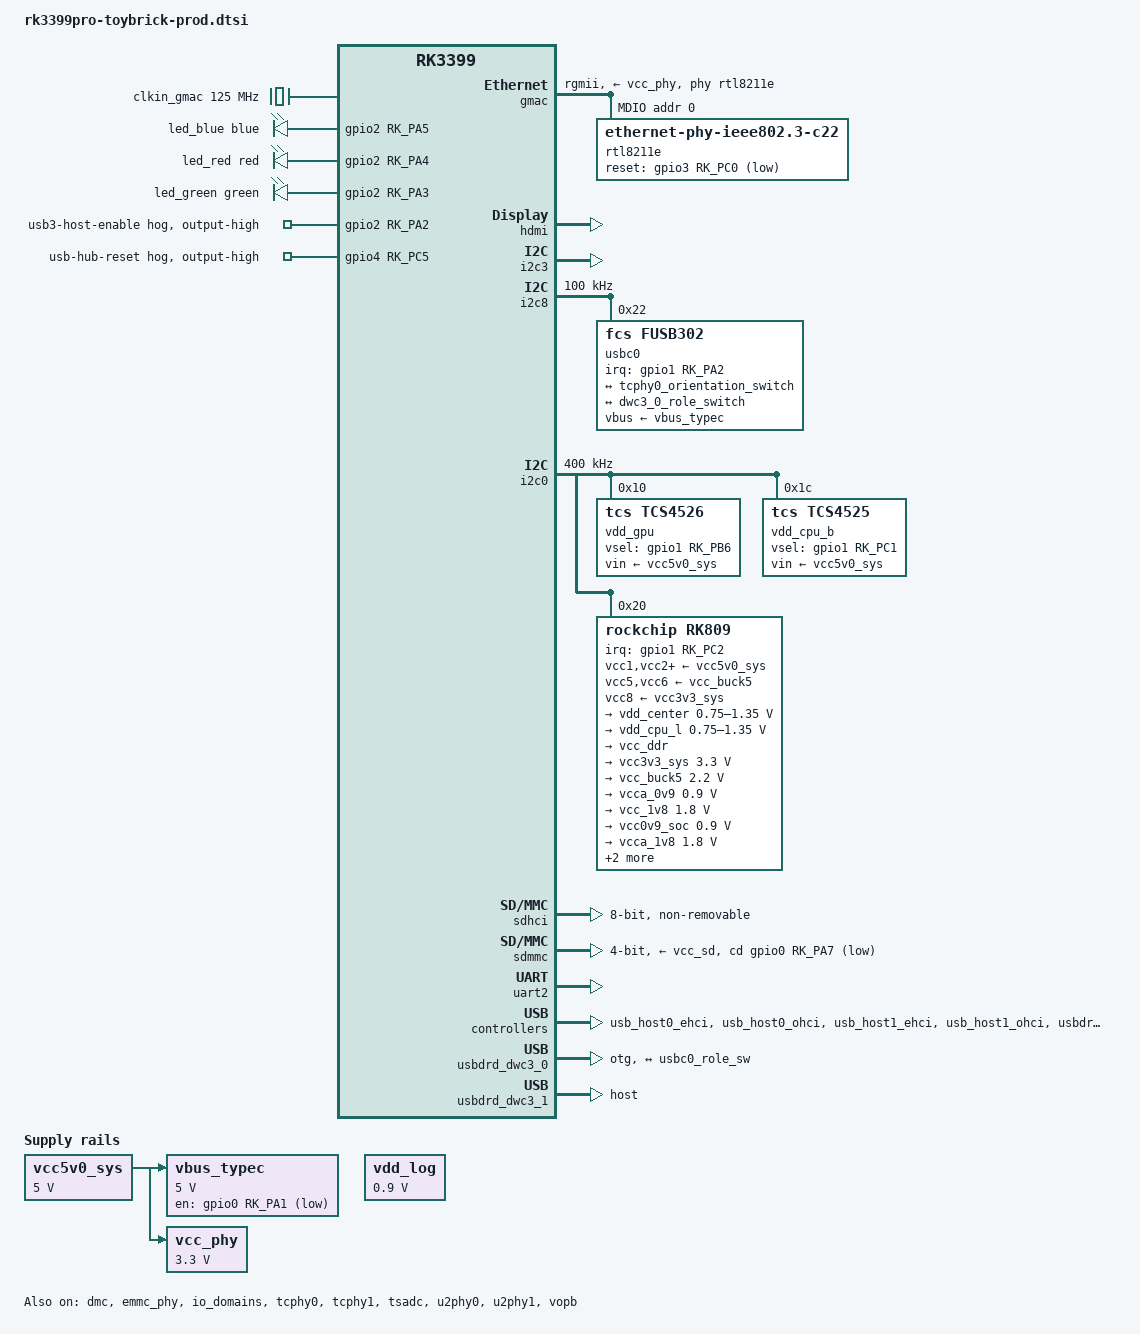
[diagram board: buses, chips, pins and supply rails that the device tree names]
// SPDX-License-Identifier: (GPL-2.0+ OR MIT)
/*
 * Toybrick TB-RK3399ProD board support
 *
 * This description contains the hardware required for the OpenWrt router and
 * HDMI text console. Camera, audio, on-board/vendor wireless, Bluetooth and
 * the external NPU firmware interface are left disabled.
 * External endpoints on the independent x4 connector use PCI enumeration.
 */

#include "rk3399.dtsi"
#include <dt-bindings/leds/common.h>
#include <dt-bindings/usb/pd.h>

/ {
	compatible = "rockchip,rk3399pro-toybrick-prod",
		     "rockchip,rk3399pro";

	aliases {
		ethernet0 = &gmac;
		led-boot = &led_blue;
		led-failsafe = &led_red;
		led-running = &led_green;
		led-upgrade = &led_red;
		mmc0 = &sdmmc;
		mmc1 = &sdhci;
		serial2 = &uart2;
	};

	chosen {
		stdout-path = "serial2:1500000n8";
	};

	clkin_gmac: external-gmac-clock {
		compatible = "fixed-clock";
		#clock-cells = <0>;
		clock-frequency = <125000000>;
		clock-output-names = "clkin_gmac";
	};

	leds {
		compatible = "gpio-leds";

		led_blue: led-0 {
			color = <LED_COLOR_ID_BLUE>;
			function = LED_FUNCTION_STATUS;
			gpios = <&gpio2 RK_PA5 GPIO_ACTIVE_HIGH>;
		};

		led_red: led-1 {
			color = <LED_COLOR_ID_RED>;
			function = LED_FUNCTION_FAULT;
			gpios = <&gpio2 RK_PA4 GPIO_ACTIVE_HIGH>;
		};

		led_green: led-2 {
			color = <LED_COLOR_ID_GREEN>;
			function = LED_FUNCTION_STATUS;
			gpios = <&gpio2 RK_PA3 GPIO_ACTIVE_HIGH>;
		};
	};

	dmc_opp_table: opp-table-dmc {
		compatible = "operating-points-v2";

		/* Probe-only baseline: the accepted boot rate and fixed BSP voltage. */
		opp-800000000 {
			opp-hz = /bits/ 64 <800000000>;
			opp-microvolt = <900000>;
		};
	};

	vcc5v0_sys: regulator-vcc5v0-sys {
		compatible = "regulator-fixed";
		regulator-name = "vcc5v0_sys";
		regulator-always-on;
		regulator-boot-on;
		regulator-min-microvolt = <5000000>;
		regulator-max-microvolt = <5000000>;
	};

	vbus_typec: regulator-vbus-typec {
		compatible = "regulator-fixed";
		gpio = <&gpio0 RK_PA1 GPIO_ACTIVE_LOW>;
		pinctrl-names = "default";
		pinctrl-0 = <&vbus_typec_en>;
		regulator-name = "vbus_typec";
		regulator-min-microvolt = <5000000>;
		regulator-max-microvolt = <5000000>;
		vin-supply = <&vcc5v0_sys>;
	};

	vcc_phy: regulator-vcc-phy {
		compatible = "regulator-fixed";
		regulator-name = "vcc_phy";
		regulator-always-on;
		regulator-boot-on;
		regulator-min-microvolt = <3300000>;
		regulator-max-microvolt = <3300000>;
		vin-supply = <&vcc5v0_sys>;
	};

	vcc_pcie: regulator-vcc-pcie {
		compatible = "regulator-fixed";
		enable-active-high;
		gpio = <&gpio2 RK_PA6 GPIO_ACTIVE_HIGH>;
		pinctrl-names = "default";
		pinctrl-0 = <&vcc_pcie_drv>;
		regulator-name = "vcc_pcie";
		regulator-min-microvolt = <3300000>;
		regulator-max-microvolt = <3300000>;
		vin-supply = <&vcc5v0_sys>;
		status = "disabled";
	};

	/* The BSP models this always-on rail separately from RK809 DCDC1. */
	vdd_log: regulator-vdd-log {
		compatible = "regulator-fixed";
		regulator-name = "vdd_log";
		regulator-always-on;
		regulator-boot-on;
		regulator-min-microvolt = <900000>;
		regulator-max-microvolt = <900000>;
	};
};

&cpu_l0 {
	cpu-supply = <&vdd_cpu_l>;
};

&cpu_l1 {
	cpu-supply = <&vdd_cpu_l>;
};

&cpu_l2 {
	cpu-supply = <&vdd_cpu_l>;
};

&cpu_l3 {
	cpu-supply = <&vdd_cpu_l>;
};

&cpu_b0 {
	cpu-supply = <&vdd_cpu_b>;
};

&cpu_b1 {
	cpu-supply = <&vdd_cpu_b>;
};

&dfi {
	/* ROUND-only validation does not consume the DDR load monitor. */
	status = "disabled";
};

&dmc {
	center-supply = <&vdd_log>;
	operating-points-v2 = <&dmc_opp_table>;
	status = "okay";
};

&emmc_phy {
	status = "okay";
};

&gmac {
	assigned-clocks = <&cru SCLK_RMII_SRC>;
	assigned-clock-parents = <&clkin_gmac>;
	clock_in_out = "input";
	phy-handle = <&rtl8211e>;
	phy-mode = "rgmii";
	phy-supply = <&vcc_phy>;
	pinctrl-names = "default";
	pinctrl-0 = <&rgmii_pins>;
	rx_delay = <0x20>;
	tx_delay = <0x28>;
	status = "okay";

	mdio {
		compatible = "snps,dwmac-mdio";
		#address-cells = <1>;
		#size-cells = <0>;

		rtl8211e: ethernet-phy@0 {
			compatible = "ethernet-phy-ieee802.3-c22";
			reg = <0>;
			pinctrl-names = "default";
			pinctrl-0 = <&phy_reset>;
			reset-assert-us = <10000>;
			reset-deassert-us = <50000>;
			reset-gpios = <&gpio3 RK_PC0 GPIO_ACTIVE_LOW>;
		};
	};
};

&hdmi {
	avdd-0v9-supply = <&vcca_0v9>;
	avdd-1v8-supply = <&vcca_1v8>;
	ddc-i2c-bus = <&i2c3>;
	status = "okay";
};

&i2c3 {
	i2c-scl-rising-time-ns = <450>;
	i2c-scl-falling-time-ns = <15>;
	status = "okay";
};

&i2c8 {
	clock-frequency = <100000>;
	i2c-scl-falling-time-ns = <11>;
	i2c-scl-rising-time-ns = <345>;
	status = "okay";

	usbc0: typec-portc@22 {
		compatible = "fcs,fusb302";
		reg = <0x22>;
		interrupt-parent = <&gpio1>;
		interrupts = <RK_PA2 IRQ_TYPE_LEVEL_LOW>;
		pinctrl-names = "default";
		pinctrl-0 = <&usbc0_int>;
		vbus-supply = <&vbus_typec>;

		usb_con: connector {
			compatible = "usb-c-connector";
			data-role = "host";
			label = "USB-C";
			power-role = "source";
			source-pdos =
				<PDO_FIXED(5000, 1500, PDO_FIXED_USB_COMM)>;

			ports {
				#address-cells = <1>;
				#size-cells = <0>;

				port@0 {
					reg = <0>;

					usbc0_orien_sw: endpoint {
						remote-endpoint = <&tcphy0_orientation_switch>;
					};
				};

				port@1 {
					reg = <1>;

					usbc0_role_sw: endpoint {
						remote-endpoint = <&dwc3_0_role_switch>;
					};
				};
			};
		};
	};
};

&gpio2 {
	/* Fixed USB3 host port power enable from the vendor board file. */
	usb3_host_enable_hog: usb3-host-enable-hog {
		gpio-hog;
		gpios = <RK_PA2 GPIO_ACTIVE_HIGH>;
		output-high;
		line-name = "usb3-host-enable";
	};
};

&gpio4 {
	/* Replaces the BSP-only usbhub-reset platform driver. */
	usb_hub_reset_hog: usb-hub-reset-hog {
		gpio-hog;
		gpios = <RK_PC5 GPIO_ACTIVE_HIGH>;
		output-high;
		line-name = "usb-hub-reset";
	};
};

&gpu {
	mali-supply = <&vdd_gpu>;
	status = "disabled";
};

&i2c0 {
	clock-frequency = <400000>;
	i2c-scl-falling-time-ns = <30>;
	i2c-scl-rising-time-ns = <180>;
	status = "okay";

	vdd_gpu: regulator@10 {
		compatible = "tcs,tcs4526";
		reg = <0x10>;
		fcs,suspend-voltage-selector = <1>;
		pinctrl-names = "default";
		pinctrl-0 = <&vsel2_gpio>;
		regulator-name = "vdd_gpu";
		regulator-always-on;
		regulator-boot-on;
		regulator-min-microvolt = <737500>;
		regulator-max-microvolt = <1387500>;
		regulator-ramp-delay = <2300>;
		vin-supply = <&vcc5v0_sys>;
		vsel-gpios = <&gpio1 RK_PB6 GPIO_ACTIVE_HIGH>;

		regulator-state-mem {
			regulator-off-in-suspend;
		};
	};

	vdd_cpu_b: regulator@1c {
		compatible = "tcs,tcs4525";
		reg = <0x1c>;
		fcs,suspend-voltage-selector = <1>;
		pinctrl-names = "default";
		pinctrl-0 = <&vsel1_gpio>;
		regulator-name = "vdd_cpu_b";
		regulator-always-on;
		regulator-boot-on;
		regulator-min-microvolt = <712500>;
		regulator-max-microvolt = <1387500>;
		regulator-ramp-delay = <2300>;
		vin-supply = <&vcc5v0_sys>;
		vsel-gpios = <&gpio1 RK_PC1 GPIO_ACTIVE_HIGH>;

		regulator-state-mem {
			regulator-off-in-suspend;
		};
	};

	rk809: pmic@20 {
		compatible = "rockchip,rk809";
		reg = <0x20>;
		interrupt-parent = <&gpio1>;
		interrupts = <RK_PC2 IRQ_TYPE_LEVEL_LOW>;
		#clock-cells = <1>;
		clock-output-names = "rk808-clkout1", "rk808-clkout2";
		pinctrl-names = "default";
		pinctrl-0 = <&pmic_int_l>;
		rockchip,system-power-controller;
		wakeup-source;

		vcc1-supply = <&vcc5v0_sys>;
		vcc2-supply = <&vcc5v0_sys>;
		vcc3-supply = <&vcc5v0_sys>;
		vcc4-supply = <&vcc5v0_sys>;
		vcc5-supply = <&vcc_buck5>;
		vcc6-supply = <&vcc_buck5>;
		vcc7-supply = <&vcc5v0_sys>;
		vcc8-supply = <&vcc3v3_sys>;
		vcc9-supply = <&vcc5v0_sys>;

		regulators {
			vdd_center: DCDC_REG1 {
				regulator-name = "vdd_center";
				regulator-always-on;
				regulator-boot-on;
				regulator-min-microvolt = <750000>;
				regulator-max-microvolt = <1350000>;
				regulator-initial-mode = <0x2>;

				regulator-state-mem {
					regulator-on-in-suspend;
					regulator-suspend-microvolt = <900000>;
				};
			};

			vdd_cpu_l: DCDC_REG2 {
				regulator-name = "vdd_cpu_l";
				regulator-always-on;
				regulator-boot-on;
				regulator-min-microvolt = <750000>;
				regulator-max-microvolt = <1350000>;
				regulator-initial-mode = <0x2>;
				regulator-ramp-delay = <6001>;

				regulator-state-mem {
					regulator-off-in-suspend;
				};
			};

			vcc_ddr: DCDC_REG3 {
				regulator-name = "vcc_ddr";
				regulator-always-on;
				regulator-boot-on;
				regulator-initial-mode = <0x2>;

				regulator-state-mem {
					regulator-on-in-suspend;
				};
			};

			vcc3v3_sys: DCDC_REG4 {
				regulator-name = "vcc3v3_sys";
				regulator-always-on;
				regulator-boot-on;
				regulator-min-microvolt = <3300000>;
				regulator-max-microvolt = <3300000>;
				regulator-initial-mode = <0x2>;

				regulator-state-mem {
					regulator-on-in-suspend;
					regulator-suspend-microvolt = <3300000>;
				};
			};

			vcc_buck5: DCDC_REG5 {
				regulator-name = "vcc_buck5";
				regulator-always-on;
				regulator-boot-on;
				regulator-min-microvolt = <2200000>;
				regulator-max-microvolt = <2200000>;

				regulator-state-mem {
					regulator-on-in-suspend;
					regulator-suspend-microvolt = <2200000>;
				};
			};

			vcca_0v9: LDO_REG1 {
				regulator-name = "vcca_0v9";
				regulator-always-on;
				regulator-boot-on;
				regulator-min-microvolt = <900000>;
				regulator-max-microvolt = <900000>;

				regulator-state-mem {
					regulator-off-in-suspend;
				};
			};

			vcc_1v8: LDO_REG2 {
				regulator-name = "vcc_1v8";
				regulator-always-on;
				regulator-boot-on;
				regulator-min-microvolt = <1800000>;
				regulator-max-microvolt = <1800000>;

				regulator-state-mem {
					regulator-on-in-suspend;
					regulator-suspend-microvolt = <1800000>;
				};
			};

			vcc0v9_soc: LDO_REG3 {
				regulator-name = "vcc0v9_soc";
				regulator-always-on;
				regulator-boot-on;
				regulator-min-microvolt = <900000>;
				regulator-max-microvolt = <900000>;

				regulator-state-mem {
					regulator-on-in-suspend;
					regulator-suspend-microvolt = <900000>;
				};
			};

			vcca_1v8: LDO_REG4 {
				regulator-name = "vcca_1v8";
				regulator-always-on;
				regulator-boot-on;
				regulator-min-microvolt = <1800000>;
				regulator-max-microvolt = <1800000>;

				regulator-state-mem {
					regulator-off-in-suspend;
				};
			};

			vdd1v5_dvp: LDO_REG5 {
				regulator-name = "vdd1v5_dvp";
				regulator-always-on;
				regulator-boot-on;
				regulator-min-microvolt = <1500000>;
				regulator-max-microvolt = <1500000>;

				regulator-state-mem {
					regulator-off-in-suspend;
				};
			};

			vcc_1v5: LDO_REG6 {
				regulator-name = "vcc_1v5";
				regulator-always-on;
				regulator-boot-on;
				regulator-min-microvolt = <1500000>;
				regulator-max-microvolt = <1500000>;

				regulator-state-mem {
					regulator-off-in-suspend;
				};
			};

			vcc_3v0: LDO_REG7 {
				regulator-name = "vcc_3v0";
				regulator-always-on;
				regulator-boot-on;
				regulator-min-microvolt = <3000000>;
				regulator-max-microvolt = <3000000>;

				regulator-state-mem {
					regulator-off-in-suspend;
				};
			};

			vccio_sd: LDO_REG8 {
				regulator-name = "vccio_sd";
				regulator-always-on;
				regulator-boot-on;
				regulator-min-microvolt = <1800000>;
				regulator-max-microvolt = <3300000>;

				regulator-state-mem {
					regulator-on-in-suspend;
					regulator-suspend-microvolt = <3300000>;
				};
			};

			vcc_sd: LDO_REG9 {
				regulator-name = "vcc_sd";
				regulator-always-on;
				regulator-boot-on;
				regulator-min-microvolt = <3300000>;
				regulator-max-microvolt = <3300000>;

				regulator-state-mem {
					regulator-on-in-suspend;
					regulator-suspend-microvolt = <3300000>;
				};
			};

			vcc5v0_usb: SWITCH_REG1 {
				regulator-name = "vcc5v0_usb";
				regulator-min-microvolt = <5000000>;
				regulator-max-microvolt = <5000000>;

				regulator-state-mem {
					regulator-off-in-suspend;
				};
			};

			vccio_3v3: SWITCH_REG2 {
				regulator-name = "vccio_3v3";
				regulator-always-on;
				regulator-boot-on;
				regulator-min-microvolt = <3300000>;
				regulator-max-microvolt = <3300000>;

				regulator-state-mem {
					regulator-off-in-suspend;
				};
			};
		};
	};
};

&io_domains {
	audio-supply = <&vcca_1v8>;
	bt656-supply = <&vcca_1v8>;
	gpio1830-supply = <&vcc_3v0>;
	sdmmc-supply = <&vccio_sd>;
	status = "okay";
};

&pinctrl {
	gmac {
		phy_reset: phy-reset {
			rockchip,pins = <3 RK_PC0 RK_FUNC_GPIO &pcfg_pull_up>;
		};
	};

	pcie {
		vcc_pcie_drv: vcc-pcie-drv {
			rockchip,pins = <2 RK_PA6 RK_FUNC_GPIO &pcfg_pull_up>;
		};
	};

	usb-typec {
		usbc0_int: usbc0-int {
			rockchip,pins = <1 RK_PA2 RK_FUNC_GPIO &pcfg_pull_up>;
		};

		vbus_typec_en: vbus-typec-en {
			rockchip,pins = <0 RK_PA1 RK_FUNC_GPIO &pcfg_pull_up>;
		};
	};

	pmic {
		pmic_int_l: pmic-int-l {
			rockchip,pins = <1 RK_PC2 RK_FUNC_GPIO &pcfg_pull_up>;
		};

		vsel1_gpio: vsel1-pin {
			rockchip,pins = <1 RK_PC1 RK_FUNC_GPIO &pcfg_pull_down>;
		};

		vsel2_gpio: vsel2-pin {
			rockchip,pins = <1 RK_PB6 RK_FUNC_GPIO &pcfg_pull_down>;
		};
	};
};

&pmu_io_domains {
	pmu1830-supply = <&vcc_1v8>;
	status = "okay";
};

&sdhci {
	bus-width = <8>;
	mmc-hs400-1_8v;
	mmc-hs400-enhanced-strobe;
	non-removable;
	status = "okay";
};

&sdmmc {
	bus-width = <4>;
	cap-sd-highspeed;
	cd-gpios = <&gpio0 RK_PA7 GPIO_ACTIVE_LOW>;
	disable-wp;
	max-frequency = <150000000>;
	pinctrl-names = "default";
	pinctrl-0 = <&sdmmc_clk &sdmmc_cmd &sdmmc_bus4>;
	vmmc-supply = <&vcc_sd>;
	vqmmc-supply = <&vccio_sd>;
	status = "okay";
};

&tcphy0 {
	status = "okay";
};

&tcphy0_usb3 {
	orientation-switch;

	port {
		tcphy0_orientation_switch: endpoint {
			remote-endpoint = <&usbc0_orien_sw>;
		};
	};
};

&tcphy1 {
	status = "okay";
};

&tsadc {
	rockchip,hw-tshut-mode = <1>;
	rockchip,hw-tshut-polarity = <1>;
	status = "okay";
};

&u2phy0 {
	status = "okay";

	u2phy0_otg: otg-port {
		status = "okay";
	};

	u2phy0_host: host-port {
		phy-supply = <&vcc5v0_usb>;
		status = "okay";
	};
};

&u2phy1 {
	status = "okay";

	u2phy1_otg: otg-port {
		status = "okay";
	};

	u2phy1_host: host-port {
		phy-supply = <&vcc5v0_usb>;
		status = "okay";
	};
};

&uart2 {
	status = "okay";
};

&usb_host0_ehci {
	status = "okay";
};

&usb_host0_ohci {
	status = "okay";
};

&usb_host1_ehci {
	status = "okay";
};

&usb_host1_ohci {
	status = "okay";
};

&usbdrd3_0 {
	status = "okay";
};

&usbdrd_dwc3_0 {
	dr_mode = "otg";
	snps,dis-u3-autosuspend-quirk;
	status = "okay";
	usb-role-switch;

	port {
		dwc3_0_role_switch: endpoint {
			remote-endpoint = <&usbc0_role_sw>;
		};
	};
};

&usbdrd3_1 {
	status = "okay";
};

&usbdrd_dwc3_1 {
	dr_mode = "host";
	status = "okay";
};

&{/watchdog@ff848000} {
	/* Match the DesignWare driver's fixed-TOP fallback table explicitly. */
	snps,watchdog-tops = <0x00010000 0x00020000 0x00040000 0x00080000
			       0x00100000 0x00200000 0x00400000 0x00800000
			       0x01000000 0x02000000 0x04000000 0x08000000
			       0x10000000 0x20000000 0x40000000 0x80000000>;
};

&vopb {
	status = "okay";
};

&vopb_mmu {
	status = "okay";
};
